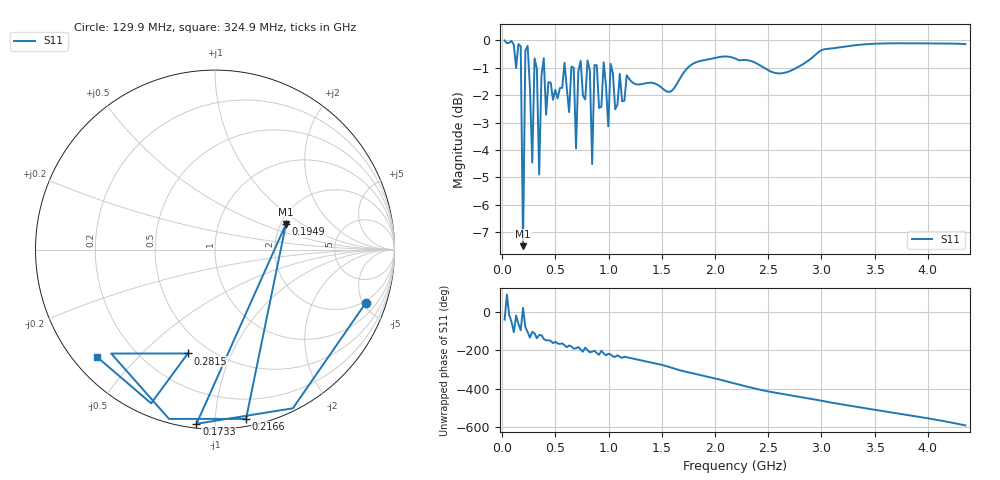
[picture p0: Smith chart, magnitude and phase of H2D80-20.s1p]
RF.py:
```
import skrf as rf
from pylab import *
import matplotlib.pyplot as plt
import numpy as np
import csv
from matplotlib.ticker import (MultipleLocator, FormatStrFormatter,
                               AutoMinorLocator)


def smooth(y, box_pts):
    box = np.ones(box_pts)/box_pts
    y_smooth = np.convolve(y, box, mode='same')
    return y_smooth


def normalize_csv(filename, param):
    xs = []
    ys = []
    end_index = 0
    
    with open(filename, 'r') as f:
        reader = csv.reader(f)
        for row in reader:
            s = row[0]
            if s.find('END') >= 0:
               end_index += 1 
               #1 S11, 2 Phase, 3 SWR, 4 Real/Imaginary 
               if end_index == param: 
                   break
               else:
                   xs = []
                   ys = []               
            elif(s.find('!') < 0 and s.find('BEGIN') < 0 and s.find('END') < 0) and s.find('Freq') < 0:
                xs.append(row[0])
                if len(row) > 1:
                    #1 Real, 2 Imaginary
                    ys.append(row[1])
                else:
                    ys.append(row[1])
    return np.array(xs, dtype=np.float64), np.array(ys, dtype=np.float64)

def get_return_loss_from_linear(data):
    return -20*np.log10(abs(data))

def get_return_loss_from_log(data):
    return abs(data)

def get_vswr_from_log(data):
    data = get_return_loss_from_log(data)
    data1 = 10**(-data/20)
    return (1 + data1) / (1 - data1) 


##x,y = normalize_csv('H1D15/H1D15_Simulacao.csv', 1)
##plt.plot(x*10**9,y, label = 'Simulacao')
##
##x,y = normalize_csv('H1D15/H1D15-Med-Freq.csv', 1)
##plt.plot(x,y,label='Medicao')

    
##x,y = normalize_csv('H2N/H2N - Modulo.csv', 1)
##x,z = normalize_csv('H2N/H2N - Fase.csv', 1)
##
##x = [int(x1*10**9) for x1 in x]
##
##f = open("H2N/H2N.s1p","w+")
##f.write('!Keysight Technologies N9923A: A.08.19\n')
##f.write('!Date: Thursday, 16 January 2020 11:30:00\n')
##f.write('!TimeZone: (GMT-03:00) Brasilia!Model: N9923A\n')
##f.write('!Serial: MY51491501\n')
##f.write('!GPS Latitude: \n')
##f.write('!GPS Longitude: \n')
##f.write('!GPS TimeStamp: 0001-01-01 00:00:00Z\n')
##f.write('!GPS Seconds Since Last Read: 0\n')
##f.write('!CHECKSUM:1078980270\n')
##f.write('!Correction: S11(ON U)\n')
##f.write('!S1P File: Measurement: S11:\n')
##f.write('# Hz S DB R 50\n')
##
##for i in range(len(x)):
##    f.write(str(x[i]) + ' ' + str(y[i]) + ' ' + str(z[i]) + '\n')
##     
##f.close()

##

##fig, ax = plt.subplots()
##
##
##for i in [14]:
##    probe = rf.Network('CampoExperimental/'+str(i)+'Z.s1p')
##    x1,y1 = probe.plot_s_db_time(window=('kaiser', 6))
##    x1 = 0.92*3*10**8*x1/2
##
##    ax.plot(x1, y1,label='H' + str(i),linewidth=2)
##
##probe = rf.Network('Pontos/H1D50-20-201.s1p')
##x1,y1 = probe.plot_s_db_time(window=('kaiser', 6))
##x1 = 0.87*3*10**8*x1/2
##ax.plot(x1, smooth(y1,2),label='201',linewidth=2)

##x2,y2 = normalize_csv('Viagem-2-STN/Viagem-2-STN/31-07-2019/05v6/10-2/D/T13.csv', 1)
##ax.plot(x2,smooth(y2,3),label='Tempo', linewidth=2)
##
####majorLocator = MultipleLocator(0.2)
####majorFormatter = FormatStrFormatter('%.2f')
####minorLocator = MultipleLocator(0.04)
####
####ax.xaxis.set_major_locator(majorLocator)
####ax.xaxis.set_major_formatter(majorFormatter)
####ax.xaxis.set_minor_locator(minorLocator)
##ax.set_xticks(np.arange(0,11,0.5))

##x2,y2 = normalize_csv('Viagem-2-STN/Viagem-2-STN/31-07-2019/05v6/10-2/D/T13.csv', 1)
##plt.plot(x2,smooth(y2,3),label='Tempo', linewidth=2)

#plt.xticks(np.arange(0, max(x1),0.1),fontsize=6)


probe = rf.Network('H2D80-20/H2D80-20.s1p')
x,y = probe.plot_s_db_time(window=('kaiser', 6))
plt.plot(0.92*3*10**8*x/2,smooth(y,3),label='Simulacao',  linewidth=2)
##
##x,y = normalize_csv('Viagem-2-STN/Viagem-2-STN/01-08-2019/05v6/7-2/B/T28.csv',1)
##plt.plot(x,smooth(y,3),label='Tempo',  linewidth=2)
##
##x,y = normalize_csv('MDSC2/04-02-2019/H1N/H1N-Med-DTF-3_Amp.csv', 1)
##plt.plot(x,smooth(y,3),label='Medicao', linewidth=2)

##plt.xticks(np.arange(0,2,0.1))
####
##
##x1,y1 = normalize_csv('MDSC2/04-02-2019/H1D15/H1D15-Med-DTF-2_Amp.csv', 1)
##
##
##x2,y2 = normalize_csv('MDSC2/05-02-2019/H1D15/H1D15-Med-DTF-2_Amp.csv', 1)
##
##
##x3,y3 = normalize_csv('MDSC2/10-02-2019/H1D15/H1D15-Med-DTF-2_Amp.csv', 1)
##
##x4,y4 = normalize_csv('MDSC2/11-02-2019/H1D15/H1D15-Med-DTF-2_Amp.csv', 1)
##
##x = np.mean([x1,x2,x3,x4], axis=0)
##y = np.mean([y1,y2,y3,y4], axis=0)
##
##plt.plot(0.87*x,smooth(y,3),label='Media de Medicoes', linewidth=2)
##
##plt.xticks(np.arange(min(x), max(x), 0.1))



##
plt.rc('legend', fontsize=20)    # legend fontsize
plt.xlabel('Metro (m)', fontsize=20)
plt.ylabel('VSWR', fontsize=20)
plt.title('Torre 7/2 - Estai B')
plt.grid()
plt.legend()
plt.show()
```
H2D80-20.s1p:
!Keysight Technologies N9923A: A.08.19
!Date: Thursday, 16 January 2020 11:30:00
!TimeZone: (GMT-03:00) Brasilia!Model: N9923A
!Serial: MY51491501
!GPS Latitude:
!GPS Longitude:
!GPS TimeStamp: 0001-01-01 00:00:00Z
!GPS Seconds Since Last Read: 0
!CHECKSUM:1078980270
!Correction: S11(ON U)
!S1P File: Measurement: S11:
# Hz S DB R 50
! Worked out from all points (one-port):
!   201 points, 21.66 MHz to 4.353 GHz, reference 50 ohm
!   lowest |S11| = -7.5 dB at 194.9 MHz (marker M1), VSWR 2.45, Z = 107 + j37.2 ohm
!   |S11| at or under -10 dB: nowhere
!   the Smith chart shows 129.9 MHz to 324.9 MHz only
!   S11 on the Smith chart (normalised r, x): 129.9 MHz: 1.81, -5.20; 173.3 MHz: 0.02, -0.90; 194.9 MHz: 2.13, +0.74; 216.6 MHz: 0.05, -1.20; 281.5 MHz: 0.39, -0.70; 324.9 MHz: 0.07, -0.39
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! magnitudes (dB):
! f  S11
! 21.66 MHz  0.0
! 129.9 MHz  -1.0
! 173.3 MHz  -0.2
! 194.9 MHz  -7.5
! 216.6 MHz  -0.4
! 281.5 MHz  -4.5
! 324.9 MHz  -1.0
! 346.5 MHz  -4.9
! 389.8 MHz  -0.6
! 844.6 MHz  -4.5
! 866.3 MHz  -0.9
! 1.473 GHz  -1.7
! 2.924 GHz  -0.6
! 4.353 GHz  -0.1
